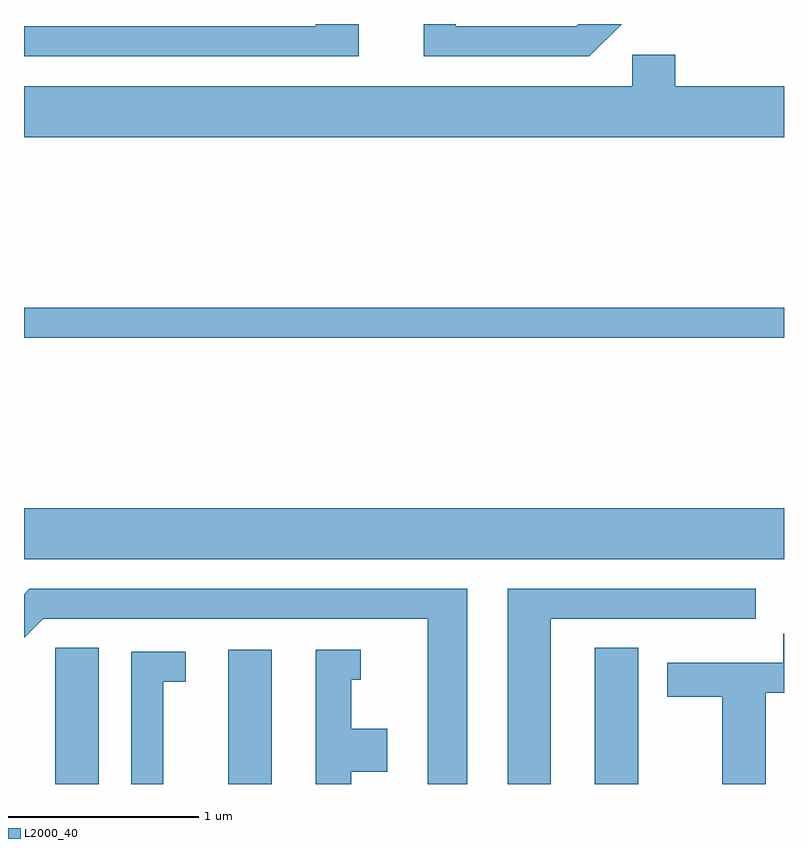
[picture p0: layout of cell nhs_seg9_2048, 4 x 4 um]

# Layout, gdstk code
import gdstk
lib = gdstk.Library(unit=1e-6, precision=1e-09)
def R(c, l, rs):  # rectangles x0, y0, x1, y1
    for r in rs: c.add(gdstk.rectangle(r[:2], r[2:], *l))
def P(c, l, *ps):  # polygons
    for p in ps: c.add(gdstk.Polygon(p, *l))
L2000_40 = (2000, 40)

nhs_seg9_2048 = lib.new_cell('nhs_seg9_2048')
R(nhs_seg9_2048, L2000_40, [(245.776,1968.432,246.004,1969.149), (246.686,1968.432,246.914,1969.139), (248.616,1968.432,248.844,1969.149), (245.611,1969.616,249.611,1969.884), (245.611,1970.781,249.611,1970.939)])
P(nhs_seg9_2048, L2000_40, [(248.758,1972.432),(248.527,1972.432),(248.514,1972.419),(247.884,1972.419),(247.884,1972.432),(247.716,1972.432),(247.716,1972.261),(248.587,1972.261)],
  [(247.374,1972.432),(247.146,1972.432),(247.146,1972.419),(245.611,1972.419),(245.611,1972.261),(247.374,1972.261)],
  [(249.611,1972.104),(249.039,1972.104),(249.039,1972.269),(248.811,1972.269),(248.811,1972.104),(245.611,1972.104),(245.611,1971.836),(249.611,1971.836)],
  [(247.944,1969.459),(245.639,1969.459),(245.611,1969.431),(245.611,1969.201),(245.712,1969.301),(247.736,1969.301),(247.736,1968.432),(247.944,1968.432)],
  [(248.384,1969.301),(249.463,1969.301),(249.463,1969.459),(248.156,1969.459),(248.156,1968.432),(248.384,1968.432)],
  [(249.514,1968.911),(249.611,1968.911),(249.611,1969.223),(249.606,1969.223),(249.606,1969.069),(248.996,1969.069),(248.996,1968.891),(249.286,1968.891),(249.286,1968.432),(249.514,1968.432)],
  [(247.334,1968.496),(247.524,1968.496),(247.524,1968.724),(247.334,1968.724),(247.334,1968.981),(247.383,1968.981),(247.383,1969.139),(247.146,1969.139),(247.146,1968.432),(247.334,1968.432)],
  [(246.344,1968.971),(246.463,1968.971),(246.463,1969.129),(246.176,1969.129),(246.176,1968.432),(246.344,1968.432)])

lib.write_gds('nhs_seg9_2048.gds')
